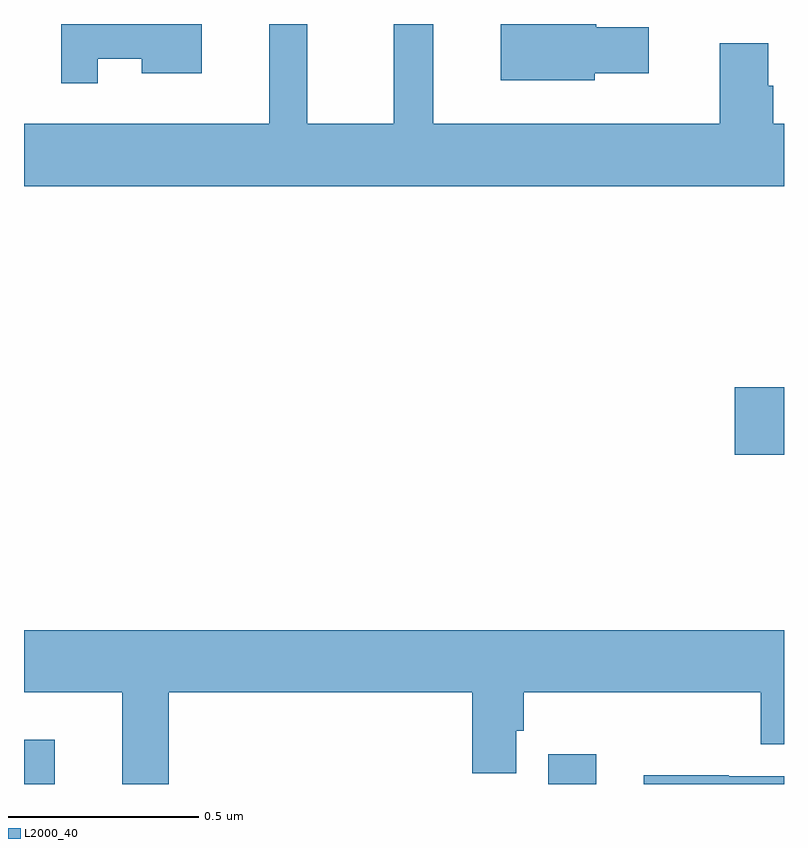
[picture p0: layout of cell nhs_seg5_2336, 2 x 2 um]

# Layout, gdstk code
import gdstk
lib = gdstk.Library(unit=1e-6, precision=1e-09)
def R(c, l, rs):  # rectangles x0, y0, x1, y1
    for r in rs: c.add(gdstk.rectangle(r[:2], r[2:], *l))
def P(c, l, *ps):  # polygons
    for p in ps: c.add(gdstk.Polygon(p, *l))
L2000_40 = (2000, 40)

nhs_seg5_2336 = lib.new_cell('nhs_seg5_2336')
R(nhs_seg5_2336, L2000_40, [(142,909.799,142.081,909.916), (143.38,909.799,143.506,909.877), (143.871,910.666,144,910.843)])
P(nhs_seg5_2336, L2000_40, [(144,911.536),(143.972,911.536),(143.972,911.637),(143.959,911.637),(143.959,911.748),(143.831,911.748),(143.831,911.536),(143.077,911.536),(143.077,911.799),(142.973,911.799),(142.973,911.536),(142.746,911.536),(142.746,911.799),(142.646,911.799),(142.646,911.536),(142,911.536),(142,911.372),(144,911.372)],
  [(143.502,911.669),(143.644,911.669),(143.644,911.791),(143.506,911.791),(143.506,911.799),(143.255,911.799),(143.255,911.651),(143.502,911.651)],
  [(142.194,911.708),(142.31,911.708),(142.31,911.669),(142.468,911.669),(142.468,911.799),(142.098,911.799),(142.098,911.643),(142.194,911.643)],
  [(142.381,910.04),(143.179,910.04),(143.179,909.827),(143.295,909.827),(143.295,909.939),(143.315,909.939),(143.315,910.04),(143.939,910.04),(143.939,909.904),(144,909.904),(144,910.204),(142,910.204),(142,910.04),(142.259,910.04),(142.259,909.799),(142.381,909.799)],
  [(144,909.819),(143.855,909.819),(143.855,909.822),(143.631,909.822),(143.631,909.799),(144,909.799)])

lib.write_gds('nhs_seg5_2336.gds')
